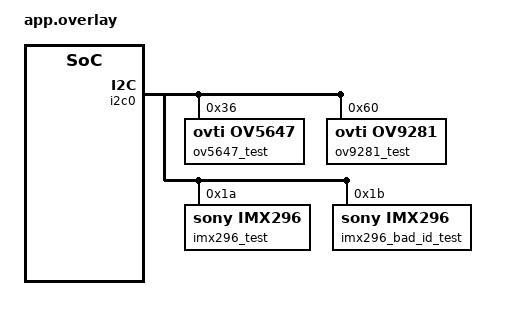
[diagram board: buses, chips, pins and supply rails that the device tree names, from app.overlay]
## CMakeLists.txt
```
# SPDX-License-Identifier: Apache-2.0
#
# Real runtime ztests for ov5647.c, ov9281.c and imx296.c against I2C emulators
# (ov5647_emul.c / ov9281_emul.c / imx296_emul.c) -- see testcase.yaml.

cmake_minimum_required(VERSION 3.20.0)
find_package(Zephyr REQUIRED HINTS $ENV{ZEPHYR_BASE})
project(alp_sdk_video_sensors_test)

target_sources(app PRIVATE
	src/ov5647_emul.c
	src/ov5647_test.c
	src/ov9281_emul.c
	src/ov9281_test.c
	src/imx296_emul.c
	src/imx296_test.c
)
```

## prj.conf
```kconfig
CONFIG_TEST=y
CONFIG_ZTEST=y
CONFIG_ALP_SDK=y

# OV9281 and OV5647 each run a real ztest against their own I2C emulator (ov9281_emul.c /
# ov5647_emul.c).
CONFIG_EMUL=y
CONFIG_I2C_EMUL=y

# Pin the SoC choice -- CONFIG_ALP_SDK=y needs one selected, same as the
# sibling tests/zephyr/display suite; unrelated to the video drivers here.
CONFIG_ALP_SOC_ALIF_ENSEMBLE_E7=y

CONFIG_I2C=y
CONFIG_VIDEO=y

# native_sim (32-bit) has SRAM_SIZE=0 -> Zephyr picks SYS_HEAP_SMALL_ONLY,
# whose heaps top out at 262136 B; shrink the pool below that instead of the
# 2 MiB default so camera_dispatch.c's BUILD_ASSERT doesn't trip here.
CONFIG_VIDEO_BUFFER_POOL_HEAP_SIZE=65536
```

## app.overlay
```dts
/*
 * SPDX-License-Identifier: Apache-2.0
 *
 * Application overlay for testing driver builds -- see testcase.yaml.
 * Names chosen not to conflict with real-world devicetree nodes, mirroring
 * upstream's tests/drivers/build_all/video/app.overlay convention.
 *
 * OV9281, OV5647 and IMX296 all sit on native_sim's real I2C emulation bus (&i2c0,
 * "zephyr,i2c-emul-controller" -- see boards/native/native_sim/native_sim.dts), where
 * ov9281_emul.c's EMUL_DT_INST_DEFINE(ovti_ov9281), ov5647_emul.c's
 * EMUL_DT_INST_DEFINE(ovti_ov5647) and imx296_emul.c's EMUL_DT_INST_DEFINE(sony_imx296) answer
 * them at runtime -- see ov9281_test.c / ov5647_test.c / imx296_test.c.
 */

/ {
	ov5647_input_clock: ov5647-input-clock {
		compatible = "fixed-clock";
		clock-frequency = <25000000>;
		#clock-cells = <0>;
	};

	ov9281_input_clock: ov9281-input-clock {
		compatible = "fixed-clock";
		clock-frequency = <24000000>;
		#clock-cells = <0>;
	};

	imx296_input_clock: imx296-input-clock {
		compatible = "fixed-clock";
		/* 54 MHz: the Raspberry Pi Global Shutter Camera module's own oscillator -- one
		 * of the three INCK frequencies imx296.c's imx296_inck_table[] supports. */
		clock-frequency = <54000000>;
		#clock-cells = <0>;
	};
};

&i2c0 {
	status = "okay";

	ov5647_test: ov5647@36 {
		compatible = "ovti,ov5647";
		reg = <0x36>;
		clocks = <&ov5647_input_clock>;
		status = "okay";

		port {
			ov5647_test_ep: endpoint {
				remote-endpoint-label = "";
				data-lanes = <1 2>;
			};
		};
	};

	ov9281_test: ov9281@60 {
		compatible = "ovti,ov9281";
		reg = <0x60>;
		clocks = <&ov9281_input_clock>;
		status = "okay";

		port {
			ov9281_test_ep: endpoint {
				remote-endpoint-label = "";
				data-lanes = <1 2>;
			};
		};
	};

	imx296_test: imx296@1a {
		compatible = "sony,imx296";
		reg = <0x1a>;
		clocks = <&imx296_input_clock>;
		status = "okay";

		port {
			imx296_test_ep: endpoint {
				remote-endpoint-label = "";
				/* IMX296 is a single-lane part, unlike its OV5647/OV9281
				 * siblings above -- see the BUILD_ASSERT in imx296.c. */
				data-lanes = <1>;
			};
		};
	};

	/* Second instance at a distinct CCI address, purely to give
	 * imx296_test.c a device whose emulator seeds a WRONG SENSOR_INFO
	 * (imx296_emul.c matches this node by its reg address) -- exercises
	 * imx296_init()'s identity-mismatch -ENODEV path, which the real
	 * imx296_test node above (seeded with the bench-confirmed signature)
	 * cannot reach.
	 */
	imx296_bad_id_test: imx296@1b {
		compatible = "sony,imx296";
		reg = <0x1b>;
		clocks = <&imx296_input_clock>;
		status = "okay";

		port {
			imx296_bad_id_test_ep: endpoint {
				remote-endpoint-label = "";
				data-lanes = <1>;
			};
		};
	};
};
```

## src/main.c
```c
/*
 * SPDX-License-Identifier: Apache-2.0
 *
 * Build-only smoke test -- see testcase.yaml. Nothing to run.
 */

int main(void)
{
	return 0;
}
```

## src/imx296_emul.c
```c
/*
 * SPDX-License-Identifier: Apache-2.0
 *
 * I2C emulator for the IMX296 CCI register map used by imx296_test.c. Modeled on ov5647_emul.c
 * (itself modeled on ov9281_emul.c / upstream tests/drivers/sensor/ina237/src/ina237_emul.c),
 * adapted to the same 16-bit CCI register addressing (see ov9281_emul.c's header comment for the
 * transaction shape: a write is a single 3-byte transfer [addr_hi, addr_lo, data]; a read is a
 * 2-byte address write followed by a 1-byte read -- video_common.h's VIDEO_REG_ADDR16_* helpers
 * do one 8-bit-data transaction per register byte, even for IMX296's wider REG16/REG24
 * registers). UNLIKE ov5647.c's OV5647_REG16 (big-endian), imx296.c's IMX296_REG16/REG24 are
 * LITTLE-endian (VIDEO_REG_ADDR16_DATA16_LE / _DATA24_LE): video_write_cci_reg()/
 * video_read_cci_reg() put the LEAST significant byte at the register's base address and walk
 * UP for each more significant byte (see video_common.c) -- the opposite byte order from
 * ov5647_emul.c's chip-ID seeding comment.
 *
 * SENSOR_INFO (0x3148/0x3149, LE) is seeded to the bench-confirmed colour-IMX296LQR-C signature
 * 0x4A00 (issue #2287, bench run 229) at emulator init, so imx296_init()'s identity probe
 * succeeds without any test code involvement -- LE means the LOW byte (0x00) lives at 0x3148 and
 * the HIGH byte (0x4A) at 0x3149, i.e. 0x4A00 = regs[0x3149] << 8 | regs[0x3148].
 *
 * Like ov5647_emul.c (and unlike ov9281_emul.c), this emulator records every register WRITE in
 * issue order (see struct imx296_emul_write / imx296_emul_log_get() in imx296_emul.h):
 * imx296_test.c's standby/stream-sequence coverage needs to assert not just final register
 * values but that IMX296_REG_STANDBY is cancelled (temporarily) BEFORE SENSOR_INFO is read, and
 * re-armed BEFORE the VMAX/HMAX/INCKSEL/CSI-timing "S" registers are written -- a values-only
 * check cannot see write ORDER.
 */
#define DT_DRV_COMPAT sony_imx296

#include <zephyr/device.h>
#include <zephyr/drivers/emul.h>
#include <zephyr/drivers/i2c.h>
#include <zephyr/drivers/i2c_emul.h>
#include <zephyr/logging/log.h>
#include <zephyr/sys/byteorder.h>

#include <string.h>

#include "imx296_emul.h"

LOG_MODULE_REGISTER(imx296_emul, CONFIG_I2C_LOG_LEVEL);

/* Sized to cover every register address the driver touches (highest is 0x418c); a flat array
 * keeps the emulator a direct address->value map with no sparse-lookup logic to get wrong. */
#define IMX296_EMUL_REG_MAP_SIZE 0x4200

/* imx296_init()'s boot sequence is short (no per-mode table, one fixed format): XMSTA + STANDBY
 * quiesce, a standby-cancel/SENSOR_INFO-read/standby-re-arm round trip, then VMAX (3 bytes) +
 * HMAX (2 bytes) + INCKSEL0..3 (4 bytes) + CSI_TIMING (1 byte) + CSI_LANE_HS (1 byte) +
 * BLKLEVEL (2 bytes) + ROI_ENABLE (1 byte) -- under 20 writes total. Sized generously (matching
 * ov5647_emul.c's rationale) so accumulated writes across a whole ZTEST suite run cannot silently
 * overflow and drop entries partway through. */
#define IMX296_EMUL_LOG_CAPACITY 256

struct imx296_emul_data {
	uint8_t                  regs[IMX296_EMUL_REG_MAP_SIZE];
	struct imx296_emul_write log[IMX296_EMUL_LOG_CAPACITY];
	size_t                   log_count;
};

int imx296_emul_get_reg(const struct emul *target, uint16_t reg, uint8_t *value)
{
	struct imx296_emul_data *data = target->data;

	if (reg >= IMX296_EMUL_REG_MAP_SIZE || value == NULL) {
		return -EINVAL;
	}

	*value = data->regs[reg];

	return 0;
}

void imx296_emul_clear_log(const struct emul *target)
{
	struct imx296_emul_data *data = target->data;

	data->log_count = 0;
}

size_t imx296_emul_log_count(const struct emul *target)
{
	struct imx296_emul_data *data = target->data;

	return data->log_count;
}

int imx296_emul_log_get(const struct emul *target, size_t index, struct imx296_emul_write *out)
{
	struct imx296_emul_data *data = target->data;

	if (index >= data->log_count || out == NULL) {
		return -EINVAL;
	}

	*out = data->log[index];

	return 0;
}

static void imx296_emul_log_write(struct imx296_emul_data *data, uint16_t reg, uint8_t value)
{
	if (data->log_count >= IMX296_EMUL_LOG_CAPACITY) {
		LOG_WRN("Write log full (%d entries); dropping 0x%04x=0x%02x",
		        IMX296_EMUL_LOG_CAPACITY,
		        reg,
		        value);
		return;
	}

	data->log[data->log_count].reg   = reg;
	data->log[data->log_count].value = value;
	data->log_count++;
}

static int
imx296_emul_transfer_i2c(const struct emul *target, struct i2c_msg msgs[], int num_msgs, int addr)
{
	struct imx296_emul_data *data = target->data;
	uint16_t                 reg;

	ARG_UNUSED(addr);

	if (!msgs || num_msgs < 1 || num_msgs > 2 || (msgs[0].flags & I2C_MSG_READ)) {
		LOG_ERR("Unexpected transfer shape (num_msgs=%d)", num_msgs);
		return -EIO;
	}

	if (num_msgs == 1) {
		/* video_write_cci_reg(): one write of [addr_hi, addr_lo, data] */
		if (msgs[0].len != 3) {
			LOG_ERR("Expected a 3-byte register write, got %u", msgs[0].len);
			return -EIO;
		}
		reg = sys_get_be16(msgs[0].buf);
		if (reg >= IMX296_EMUL_REG_MAP_SIZE) {
			LOG_ERR("Register 0x%04x out of the emulated map", reg);
			return -EIO;
		}
		data->regs[reg] = msgs[0].buf[2];
		imx296_emul_log_write(data, reg, msgs[0].buf[2]);
		return 0;
	}

	/* video_read_cci_reg(): a 2-byte address write, then a 1-byte read */
	if (msgs[0].len != 2 || !(msgs[1].flags & I2C_MSG_READ) || msgs[1].len != 1) {
		LOG_ERR("Expected a 2-byte address write + 1-byte read");
		return -EIO;
	}
	reg = sys_get_be16(msgs[0].buf);
	if (reg >= IMX296_EMUL_REG_MAP_SIZE) {
		LOG_ERR("Register 0x%04x out of the emulated map", reg);
		return -EIO;
	}
	msgs[1].buf[0] = data->regs[reg];

	return 0;
}

/* Config data: whether this instance should seed a WRONG SENSOR_INFO, to exercise
 * imx296_init()'s identity-mismatch -ENODEV path from imx296_test.c. Set per-instance from the
 * node's own CCI address below -- see IMX296_EMUL(n) and app.overlay's imx296_bad_id_test node. */
struct imx296_emul_cfg {
	bool seed_bad_sensor_info;
};

static int imx296_emul_init(const struct emul *target, const struct device *parent)
{
	struct imx296_emul_data      *data = target->data;
	const struct imx296_emul_cfg *cfg  = target->cfg;

	ARG_UNUSED(parent);

	memset(data->regs, 0, sizeof(data->regs));
	data->log_count = 0;

	/* POR defaults (Sony IMX296 datasheet Register Map, Chip ID = 02h, page 34): STANDBY
	 * (0x3000) = 0x01 (standby), XMSTA (0x300a) = 0x01 (stopped) -- matches bench run 229's
	 * observed cold-boot reset state. */
	data->regs[0x3000] = 0x01;
	data->regs[0x300a] = 0x01;

	/* SENSOR_INFO (IMX296_REG_SENSOR_INFO = IMX296_REG16(0x3148), little-endian): bench run
	 * 229's confirmed colour-IMX296LQR-C signature 0x4a00 -- see this file's header comment
	 * for the byte order. imx296_bad_id_test seeds an arbitrary WRONG value instead, to prove
	 * imx296_init() rejects a signature that isn't this exact one. */
	if (cfg != NULL && cfg->seed_bad_sensor_info) {
		data->regs[0x3148] = 0x00;
		data->regs[0x3149] = 0x00;
	} else {
		data->regs[0x3148] = 0x00;
		data->regs[0x3149] = 0x4a;
	}

	return 0;
}

static const struct i2c_emul_api imx296_emul_api_i2c = {
	.transfer = imx296_emul_transfer_i2c,
};

#define IMX296_EMUL(n) \
	static struct imx296_emul_data      imx296_emul_data_##n; \
	static const struct imx296_emul_cfg imx296_emul_cfg_##n = { \
		.seed_bad_sensor_info = (DT_INST_REG_ADDR(n) != 0x1a), \
	}; \
	EMUL_DT_INST_DEFINE(n, \
	                    imx296_emul_init, \
	                    &imx296_emul_data_##n, \
	                    &imx296_emul_cfg_##n, \
	                    &imx296_emul_api_i2c, \
	                    NULL)

DT_INST_FOREACH_STATUS_OKAY(IMX296_EMUL)
```

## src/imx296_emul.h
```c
/*
 * SPDX-License-Identifier: Apache-2.0
 *
 * Test-only accessor into the IMX296 I2C emulator's register map and ordered write log -- see
 * imx296_emul.c.
 */
#ifndef TESTS_ZEPHYR_VIDEO_SENSORS_SRC_IMX296_EMUL_H_
#define TESTS_ZEPHYR_VIDEO_SENSORS_SRC_IMX296_EMUL_H_

#include <stddef.h>
#include <stdint.h>

#include <zephyr/drivers/emul.h>

/**
 * @brief Read one emulated IMX296 register.
 *
 * @param target The IMX296 emulator instance (EMUL_DT_GET(DT_NODELABEL(...))).
 * @param reg 16-bit CCI register address.
 * @param value Out param for the stored byte.
 * @return 0 on success, -EINVAL if @p reg is out of the emulated map or @p value is NULL.
 */
int imx296_emul_get_reg(const struct emul *target, uint16_t reg, uint8_t *value);

/* One recorded register write, in the order the driver issued it -- see imx296_emul_log_get(). */
struct imx296_emul_write {
	uint16_t reg;
	uint8_t  value;
};

/**
 * @brief Clear the ordered write log.
 *
 * Call at the start of a test that wants to inspect only the writes ITS OWN driver call made,
 * not whatever earlier tests (or imx296_init() at boot) left behind.
 *
 * @param target The IMX296 emulator instance.
 */
void imx296_emul_clear_log(const struct emul *target);

/**
 * @brief Number of register writes recorded since the last imx296_emul_clear_log() (or boot).
 *
 * Capped at the log's fixed capacity -- see imx296_emul.c.
 *
 * @param target The IMX296 emulator instance.
 * @return The recorded write count.
 */
size_t imx296_emul_log_count(const struct emul *target);

/**
 * @brief Read one entry from the ordered write log.
 *
 * @param target The IMX296 emulator instance.
 * @param index Zero-based index; 0 is the oldest recorded write since the last clear.
 * @param out Out param for the recorded register/value pair.
 * @return 0 on success, -EINVAL if @p index is out of range or @p out is NULL.
 */
int imx296_emul_log_get(const struct emul *target, size_t index, struct imx296_emul_write *out);

#endif /* TESTS_ZEPHYR_VIDEO_SENSORS_SRC_IMX296_EMUL_H_ */
```

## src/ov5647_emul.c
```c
/*
 * SPDX-License-Identifier: Apache-2.0
 *
 * I2C emulator for the OV5647 CCI register map used by ov5647_test.c. Modeled on ov9281_emul.c
 * (itself modeled on upstream tests/drivers/sensor/ina237/src/ina237_emul.c), adapted to the same
 * 16-bit CCI register addressing (see ov9281_emul.c's header comment for the transaction shape: a
 * write is a single 3-byte transfer [addr_hi, addr_lo, data]; a read is a 2-byte address write
 * followed by a 1-byte read -- video_common.h's VIDEO_REG_ADDR16_* helpers do one 8-bit-data
 * transaction per register byte, even for OV5647's wider REG16/REG24 registers).
 *
 * Chip ID (0x300a/0x300b = 0x56/0x47, combining to OV5647_CHIP_ID = 0x5647 big-endian) is seeded
 * at emulator init so ov5647_init()'s probe succeeds without any test code involvement.
 *
 * Unlike ov9281_emul.c, this emulator also records every register WRITE in issue order (see
 * struct ov5647_emul_write / ov5647_emul_log_get() in ov5647_emul.h): ov5647_test.c's lane-park
 * regression coverage (issue #2248) needs to assert not just the final parked register VALUES but
 * that 0x0100 (MODE_SELECT) is written running (0x01) BEFORE the three park registers -- parking
 * while still in software standby writes the identical final values but leaves the CSI-2 lanes
 * out of LP-11 (Stop state), a bug a values-only check cannot see.
 */
#define DT_DRV_COMPAT ovti_ov5647

#include <zephyr/device.h>
#include <zephyr/drivers/emul.h>
#include <zephyr/drivers/i2c.h>
#include <zephyr/drivers/i2c_emul.h>
#include <zephyr/logging/log.h>
#include <zephyr/sys/byteorder.h>

#include <string.h>

#include "ov5647_emul.h"

LOG_MODULE_REGISTER(ov5647_emul, CONFIG_I2C_LOG_LEVEL);

/* Sized to cover every register address the driver touches (highest is 0x503d); a flat array
 * keeps the emulator a direct address->value map with no sparse-lookup logic to get wrong. */
#define OV5647_EMUL_REG_MAP_SIZE 0x6000

/* ov5647_init()'s full boot sequence writes the reset, the (now ~50-entry, since AUTHORIZED
 * LOCAL DIVERGENCE #3 added the common analog/BLC/AEC block) init-regs table, the initial
 * full-frame set_fmt() (window + 1:1 subsample/binning/analog + frmival), and two lane_park()
 * calls -- around 80 writes total; tests that clear the log before acting add only a handful
 * more each. issue #2248 fix-up round 4: the ZTEST_SUITE before-hook (ov5647_test_before())
 * now runs a ctrl reset + set_frmival + set_format (~30 writes) ahead of EVERY test, and most
 * tests do NOT clear the log first (only a few explicitly do -- see ov5647_test.c), so the
 * ORIGINAL 160-entry budget (sized for a handful of writes per test, not ~30) silently dropped
 * writes partway through the suite once several before-hook invocations had accumulated without
 * an intervening clear, which find_write_index() then read as "never written". Raised to 1024,
 * generously rather than precisely re-budgeted -- but issue #2277's ov5647_set_frmival() re-clamp
 * (ov5647.c: every set_frmival() now re-runs the exposure setter, which always writes
 * OV5647_MANUAL_CTRL and, while VIDEO_CID_EXPOSURE_AUTO=MANUAL, OV5647_EXPOSURE) pushed the WHOLE suite (still one shared, never-fully-reset log) over
 * that budget too -- 1024 dropped past ~2050 needed. Raised again, to 4096, with the same
 * generous-not-precise margin. */
#define OV5647_EMUL_LOG_CAPACITY 4096

struct ov5647_emul_data {
	uint8_t                  regs[OV5647_EMUL_REG_MAP_SIZE];
	struct ov5647_emul_write log[OV5647_EMUL_LOG_CAPACITY];
	size_t                   log_count;
};

int ov5647_emul_get_reg(const struct emul *target, uint16_t reg, uint8_t *value)
{
	struct ov5647_emul_data *data = target->data;

	if (reg >= OV5647_EMUL_REG_MAP_SIZE || value == NULL) {
		return -EINVAL;
	}

	*value = data->regs[reg];

	return 0;
}

int ov5647_emul_set_reg(const struct emul *target, uint16_t reg, uint8_t value)
{
	struct ov5647_emul_data *data = target->data;

	if (reg >= OV5647_EMUL_REG_MAP_SIZE) {
		return -EINVAL;
	}

	data->regs[reg] = value;

	return 0;
}

void ov5647_emul_clear_log(const struct emul *target)
{
	struct ov5647_emul_data *data = target->data;

	data->log_count = 0;
}

size_t ov5647_emul_log_count(const struct emul *target)
{
	struct ov5647_emul_data *data = target->data;

	return data->log_count;
}

int ov5647_emul_log_get(const struct emul *target, size_t index, struct ov5647_emul_write *out)
{
	struct ov5647_emul_data *data = target->data;

	if (index >= data->log_count || out == NULL) {
		return -EINVAL;
	}

	*out = data->log[index];

	return 0;
}

static void ov5647_emul_log_write(struct ov5647_emul_data *data, uint16_t reg, uint8_t value)
{
	if (data->log_count >= OV5647_EMUL_LOG_CAPACITY) {
		LOG_WRN("Write log full (%d entries); dropping 0x%04x=0x%02x",
		        OV5647_EMUL_LOG_CAPACITY,
		        reg,
		        value);
		return;
	}

	data->log[data->log_count].reg   = reg;
	data->log[data->log_count].value = value;
	data->log_count++;
}

static int
ov5647_emul_transfer_i2c(const struct emul *target, struct i2c_msg msgs[], int num_msgs, int addr)
{
	struct ov5647_emul_data *data = target->data;
	uint16_t                 reg;

	ARG_UNUSED(addr);

	if (!msgs || num_msgs < 1 || num_msgs > 2 || (msgs[0].flags & I2C_MSG_READ)) {
		LOG_ERR("Unexpected transfer shape (num_msgs=%d)", num_msgs);
		return -EIO;
	}

	if (num_msgs == 1) {
		/* video_write_cci_reg(): one write of [addr_hi, addr_lo, data] */
		if (msgs[0].len != 3) {
			LOG_ERR("Expected a 3-byte register write, got %u", msgs[0].len);
			return -EIO;
		}
		reg = sys_get_be16(msgs[0].buf);
		if (reg >= OV5647_EMUL_REG_MAP_SIZE) {
			LOG_ERR("Register 0x%04x out of the emulated map", reg);
			return -EIO;
		}
		data->regs[reg] = msgs[0].buf[2];
		ov5647_emul_log_write(data, reg, msgs[0].buf[2]);
		return 0;
	}

	/* video_read_cci_reg(): a 2-byte address write, then a 1-byte read */
	if (msgs[0].len != 2 || !(msgs[1].flags & I2C_MSG_READ) || msgs[1].len != 1) {
		LOG_ERR("Expected a 2-byte address write + 1-byte read");
		return -EIO;
	}
	reg = sys_get_be16(msgs[0].buf);
	if (reg >= OV5647_EMUL_REG_MAP_SIZE) {
		LOG_ERR("Register 0x%04x out of the emulated map", reg);
		return -EIO;
	}
	msgs[1].buf[0] = data->regs[reg];

	return 0;
}

static int ov5647_emul_init(const struct emul *target, const struct device *parent)
{
	struct ov5647_emul_data *data = target->data;

	ARG_UNUSED(parent);

	memset(data->regs, 0, sizeof(data->regs));
	data->log_count = 0;

	/* OV5647_CHIP_ID_REG = OV5647_REG16(0x300a): a 2-byte big-endian read starting at 0x300a,
	 * byte-by-byte per video_read_cci_reg() -- so 0x300a holds the high byte. */
	data->regs[0x300a] = 0x56;
	data->regs[0x300b] = 0x47;

	return 0;
}

static const struct i2c_emul_api ov5647_emul_api_i2c = {
	.transfer = ov5647_emul_transfer_i2c,
};

#define OV5647_EMUL(n) \
	static struct ov5647_emul_data ov5647_emul_data_##n; \
	EMUL_DT_INST_DEFINE( \
	    n, ov5647_emul_init, &ov5647_emul_data_##n, NULL, &ov5647_emul_api_i2c, NULL)

DT_INST_FOREACH_STATUS_OKAY(OV5647_EMUL)
```

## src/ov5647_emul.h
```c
/*
 * SPDX-License-Identifier: Apache-2.0
 *
 * Test-only accessor into the OV5647 I2C emulator's register map and ordered write log -- see
 * ov5647_emul.c.
 */
#ifndef TESTS_ZEPHYR_VIDEO_SENSORS_SRC_OV5647_EMUL_H_
#define TESTS_ZEPHYR_VIDEO_SENSORS_SRC_OV5647_EMUL_H_

#include <stddef.h>
#include <stdint.h>

#include <zephyr/drivers/emul.h>

/**
 * @brief Read one emulated OV5647 register.
 *
 * @param target The OV5647 emulator instance (EMUL_DT_GET(DT_NODELABEL(...))).
 * @param reg 16-bit CCI register address.
 * @param value Out param for the stored byte.
 * @return 0 on success, -EINVAL if @p reg is out of the emulated map or @p value is NULL.
 */
int ov5647_emul_get_reg(const struct emul *target, uint16_t reg, uint8_t *value);

/**
 * @brief Directly poke one emulated OV5647 register, bypassing the driver.
 *
 * #2277: stands in for whatever OUTSIDE the ov5647.c driver's own I2C traffic last touched a
 * register -- e.g. a vendor ISP library's own sensor-attach table, or (as bench-observed) the
 * sensor's own on-chip AEC overwriting its exposure registers once AEC-manual goes inactive --
 * so a test can reproduce "something clobbered this register" without needing that external
 * write path present in a native_sim unit test.
 *
 * @param target The OV5647 emulator instance.
 * @param reg 16-bit CCI register address.
 * @param value Byte to store.
 * @return 0 on success, -EINVAL if @p reg is out of the emulated map.
 */
int ov5647_emul_set_reg(const struct emul *target, uint16_t reg, uint8_t value);

/* One recorded register write, in the order the driver issued it -- see ov5647_emul_log_get(). */
struct ov5647_emul_write {
	uint16_t reg;
	uint8_t  value;
};

/**
 * @brief Clear the ordered write log.
 *
 * Call at the start of a test that wants to inspect only the writes ITS OWN driver call made,
 * not whatever earlier tests (or ov5647_init() at boot) left behind.
 *
 * @param target The OV5647 emulator instance.
 */
void ov5647_emul_clear_log(const struct emul *target);

/**
 * @brief Number of register writes recorded since the last ov5647_emul_clear_log() (or boot).
 *
 * Capped at the log's fixed capacity -- see ov5647_emul.c.
 *
 * @param target The OV5647 emulator instance.
 * @return The recorded write count.
 */
size_t ov5647_emul_log_count(const struct emul *target);

/**
 * @brief Read one entry from the ordered write log.
 *
 * @param target The OV5647 emulator instance.
 * @param index Zero-based index; 0 is the oldest recorded write since the last clear.
 * @param out Out param for the recorded register/value pair.
 * @return 0 on success, -EINVAL if @p index is out of range or @p out is NULL.
 */
int ov5647_emul_log_get(const struct emul *target, size_t index, struct ov5647_emul_write *out);

#endif /* TESTS_ZEPHYR_VIDEO_SENSORS_SRC_OV5647_EMUL_H_ */
```

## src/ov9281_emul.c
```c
/*
 * SPDX-License-Identifier: Apache-2.0
 *
 * I2C emulator for the OV9281 CCI register map used by ov9281_test.c. Modeled on upstream
 * tests/drivers/sensor/ina237/src/ina237_emul.c, adapted to the OV9281's 16-bit CCI register
 * addressing (video_common.h's VIDEO_REG_ADDR16_* helpers do one 8-bit-data transaction per
 * register byte -- see video_write_cci_reg()/video_read_cci_reg() in
 * zephyr/drivers/video/video_common.c): a write is a single 3-byte transfer
 * [addr_hi, addr_lo, data]; a read is a 2-byte address write followed by a 1-byte read.
 *
 * Chip ID (0x300a/0x300b = 0x92/0x81, combining to OV9281_CHIP_ID = 0x9281 big-endian) is
 * seeded at emulator init so ov9281_init()'s probe succeeds without any test code involvement.
 */
#define DT_DRV_COMPAT ovti_ov9281

#include <zephyr/device.h>
#include <zephyr/drivers/emul.h>
#include <zephyr/drivers/i2c.h>
#include <zephyr/drivers/i2c_emul.h>
#include <zephyr/logging/log.h>
#include <zephyr/sys/byteorder.h>

#include <string.h>

#include "ov9281_emul.h"

LOG_MODULE_REGISTER(ov9281_emul, CONFIG_I2C_LOG_LEVEL);

/* Sized to cover every register address the driver touches (highest is 0x5e00); a flat array
 * keeps the emulator a direct address->value map with no sparse-lookup logic to get wrong. */
#define OV9281_EMUL_REG_MAP_SIZE 0x6000

struct ov9281_emul_data {
	uint8_t regs[OV9281_EMUL_REG_MAP_SIZE];
};

int ov9281_emul_get_reg(const struct emul *target, uint16_t reg, uint8_t *value)
{
	struct ov9281_emul_data *data = target->data;

	if (reg >= OV9281_EMUL_REG_MAP_SIZE || value == NULL) {
		return -EINVAL;
	}

	*value = data->regs[reg];

	return 0;
}

static int
ov9281_emul_transfer_i2c(const struct emul *target, struct i2c_msg msgs[], int num_msgs, int addr)
{
	struct ov9281_emul_data *data = target->data;
	uint16_t                 reg;

	ARG_UNUSED(addr);

	if (!msgs || num_msgs < 1 || num_msgs > 2 || (msgs[0].flags & I2C_MSG_READ)) {
		LOG_ERR("Unexpected transfer shape (num_msgs=%d)", num_msgs);
		return -EIO;
	}

	if (num_msgs == 1) {
		/* video_write_cci_reg(): one write of [addr_hi, addr_lo, data] */
		if (msgs[0].len != 3) {
			LOG_ERR("Expected a 3-byte register write, got %u", msgs[0].len);
			return -EIO;
		}
		reg = sys_get_be16(msgs[0].buf);
		if (reg >= OV9281_EMUL_REG_MAP_SIZE) {
			LOG_ERR("Register 0x%04x out of the emulated map", reg);
			return -EIO;
		}
		data->regs[reg] = msgs[0].buf[2];
		return 0;
	}

	/* video_read_cci_reg(): a 2-byte address write, then a 1-byte read */
	if (msgs[0].len != 2 || !(msgs[1].flags & I2C_MSG_READ) || msgs[1].len != 1) {
		LOG_ERR("Expected a 2-byte address write + 1-byte read");
		return -EIO;
	}
	reg = sys_get_be16(msgs[0].buf);
	if (reg >= OV9281_EMUL_REG_MAP_SIZE) {
		LOG_ERR("Register 0x%04x out of the emulated map", reg);
		return -EIO;
	}
	msgs[1].buf[0] = data->regs[reg];

	return 0;
}

static int ov9281_emul_init(const struct emul *target, const struct device *parent)
{
	struct ov9281_emul_data *data = target->data;

	ARG_UNUSED(parent);

	memset(data->regs, 0, sizeof(data->regs));

	/* OV9281_REG_CHIP_ID = OV9281_REG16(0x300a): a 2-byte big-endian read starting at
	 * 0x300a, byte-by-byte per video_read_cci_reg() -- so 0x300a holds the high byte. */
	data->regs[0x300a] = 0x92;
	data->regs[0x300b] = 0x81;

	return 0;
}

static const struct i2c_emul_api ov9281_emul_api_i2c = {
	.transfer = ov9281_emul_transfer_i2c,
};

#define OV9281_EMUL(n) \
	static struct ov9281_emul_data ov9281_emul_data_##n; \
	EMUL_DT_INST_DEFINE( \
	    n, ov9281_emul_init, &ov9281_emul_data_##n, NULL, &ov9281_emul_api_i2c, NULL)

DT_INST_FOREACH_STATUS_OKAY(OV9281_EMUL)
```

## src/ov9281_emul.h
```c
/*
 * SPDX-License-Identifier: Apache-2.0
 *
 * Test-only accessor into the OV9281 I2C emulator's register map -- see ov9281_emul.c.
 */
#ifndef TESTS_ZEPHYR_VIDEO_SENSORS_SRC_OV9281_EMUL_H_
#define TESTS_ZEPHYR_VIDEO_SENSORS_SRC_OV9281_EMUL_H_

#include <stdint.h>

#include <zephyr/drivers/emul.h>

/**
 * @brief Read one emulated OV9281 register.
 *
 * @param target The OV9281 emulator instance (EMUL_DT_GET(DT_NODELABEL(...))).
 * @param reg 16-bit CCI register address.
 * @param value Out param for the stored byte.
 * @return 0 on success, -EINVAL if @p reg is out of the emulated map or @p value is NULL.
 */
int ov9281_emul_get_reg(const struct emul *target, uint16_t reg, uint8_t *value);

#endif /* TESTS_ZEPHYR_VIDEO_SENSORS_SRC_OV9281_EMUL_H_ */
```

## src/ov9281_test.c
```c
/*
 * SPDX-License-Identifier: Apache-2.0
 *
 * Runtime ztest for the OV9281 streaming driver (zephyr/drivers/video/ov9281.c), against the
 * I2C emulator in ov9281_emul.c on native_sim's real "zephyr,i2c-emul-controller" (&i2c0 --
 * see app.overlay).
 */
#include <zephyr/device.h>
#include <zephyr/devicetree.h>
#include <zephyr/drivers/emul.h>
#include <zephyr/drivers/video-controls.h>
#include <zephyr/drivers/video.h>
#include <zephyr/ztest.h>

#include "ov9281_emul.h"

#define OV9281_NODE DT_NODELABEL(ov9281_test)

/* Register addresses this test peeks -- kept local rather than pulling ov9281.c's private
 * OV9281_REG8()-wrapped values, which also encode CCI address/data-size metadata this test
 * doesn't need. */
#define REG_Y_START             0x3803
#define REG_Y_END_H             0x3806
#define REG_Y_END_L             0x3807
#define REG_OUT_WIDTH_H         0x3808
#define REG_OUT_WIDTH_L         0x3809
#define REG_OUT_HEIGHT_H        0x380a
#define REG_OUT_HEIGHT_L        0x380b
#define REG_VTS_H               0x380e
#define REG_VTS_L               0x380f
#define REG_TEST_PATTERN        0x5e00
#define TEST_PATTERN_ENABLE_BIT BIT(7)

static const struct device *ov9281_dev(void)
{
	return DEVICE_DT_GET(OV9281_NODE);
}

static const struct emul *ov9281_emul(void)
{
	return EMUL_DT_GET(OV9281_NODE);
}

ZTEST(ov9281, test_device_is_ready)
{
	zassert_true(device_is_ready(ov9281_dev()), "OV9281 device not ready");
}

ZTEST(ov9281, test_get_caps_lists_exactly_three_grey_modes)
{
	struct video_caps caps = { .type = VIDEO_BUF_TYPE_OUTPUT };
	static const struct {
		uint32_t width;
		uint32_t height;
	} expect[] = {
		{ 640, 400 },
		{ 1280, 720 },
		{ 1280, 800 },
	};
	int count;

	zassert_ok(video_get_caps(ov9281_dev(), &caps));
	zassert_not_null(caps.format_caps);

	for (count = 0; caps.format_caps[count].pixelformat != 0; count++) {
		zassert_equal(
		    caps.format_caps[count].pixelformat, VIDEO_PIX_FMT_GREY, "mode %d is not GREY", count);
	}
	zassert_equal(count, 3, "expected exactly 3 modes, got %d", count);

	for (int i = 0; i < ARRAY_SIZE(expect); i++) {
		bool found = false;

		for (int j = 0; j < count; j++) {
			if (caps.format_caps[j].width_min == expect[i].width &&
			    caps.format_caps[j].width_max == expect[i].width &&
			    caps.format_caps[j].height_min == expect[i].height &&
			    caps.format_caps[j].height_max == expect[i].height) {
				found = true;
				break;
			}
		}
		zassert_true(found, "%ux%u mode missing from get_caps", expect[i].width, expect[i].height);
	}
}

static void set_format_ok(uint32_t width, uint32_t height)
{
	struct video_format fmt = {
		.type        = VIDEO_BUF_TYPE_OUTPUT,
		.pixelformat = VIDEO_PIX_FMT_GREY,
		.width       = width,
		.height      = height,
	};

	zassert_ok(
	    video_set_format(ov9281_dev(), &fmt), "set_format(%ux%u GREY) failed", width, height);
}

ZTEST(ov9281, test_set_format_succeeds_for_each_supported_mode)
{
	set_format_ok(640, 400);
	set_format_ok(1280, 720);
	set_format_ok(1280, 800);
}

ZTEST(ov9281, test_set_format_1280x800_programs_the_derived_registers)
{
	const struct emul *emul = ov9281_emul();
	uint8_t            val;

	/* ov9281_set_fmt() skips the register reload when the requested mode is already active
	 * (see the comment in ov9281.c) -- switch to a different mode first so the 1280x800
	 * load below is a real one this test can check, independent of what earlier tests left
	 * active. */
	set_format_ok(640, 400);
	set_format_ok(1280, 800);

	/* Y-window: full 816-row array, Y start 0 -- the same Y-end window Espressif's
	 * own 640x400 table already uses (see the derivation comment in ov9281.c). */
	zassert_ok(ov9281_emul_get_reg(emul, REG_Y_START, &val));
	zassert_equal(val, 0x00, "0x%04x", REG_Y_START);
	zassert_ok(ov9281_emul_get_reg(emul, REG_Y_END_H, &val));
	zassert_equal(val, 0x03, "0x%04x", REG_Y_END_H);
	zassert_ok(ov9281_emul_get_reg(emul, REG_Y_END_L, &val));
	zassert_equal(val, 0x2f, "0x%04x", REG_Y_END_L);

	/* Output width stays 1280 (0x0500), unchanged from the 1280x720 table */
	zassert_ok(ov9281_emul_get_reg(emul, REG_OUT_WIDTH_H, &val));
	zassert_equal(val, 0x05, "0x%04x", REG_OUT_WIDTH_H);
	zassert_ok(ov9281_emul_get_reg(emul, REG_OUT_WIDTH_L, &val));
	zassert_equal(val, 0x00, "0x%04x", REG_OUT_WIDTH_L);

	/* Output height 800 = 0x0320 */
	zassert_ok(ov9281_emul_get_reg(emul, REG_OUT_HEIGHT_H, &val));
	zassert_equal(val, 0x03, "0x%04x", REG_OUT_HEIGHT_H);
	zassert_ok(ov9281_emul_get_reg(emul, REG_OUT_HEIGHT_L, &val));
	zassert_equal(val, 0x20, "0x%04x", REG_OUT_HEIGHT_L);

	/* VTS 910 = 0x038e */
	zassert_ok(ov9281_emul_get_reg(emul, REG_VTS_H, &val));
	zassert_equal(val, 0x03, "0x%04x", REG_VTS_H);
	zassert_ok(ov9281_emul_get_reg(emul, REG_VTS_L, &val));
	zassert_equal(val, 0x8e, "0x%04x", REG_VTS_L);
}

ZTEST(ov9281, test_set_format_rejects_unsupported_fourcc)
{
	struct video_format fmt = {
		.type        = VIDEO_BUF_TYPE_OUTPUT,
		.pixelformat = VIDEO_PIX_FMT_SBGGR10P,
		.width       = 1280,
		.height      = 800,
	};

	zassert_equal(
	    video_set_format(ov9281_dev(), &fmt), -ENOTSUP, "RAW10 at a valid size should be rejected");
}

ZTEST(ov9281, test_set_format_rejects_unsupported_size)
{
	struct video_format fmt = {
		.type        = VIDEO_BUF_TYPE_OUTPUT,
		.pixelformat = VIDEO_PIX_FMT_GREY,
		.width       = 800,
		.height      = 600,
	};

	zassert_equal(video_set_format(ov9281_dev(), &fmt),
	              -ENOTSUP,
	              "an unlisted 800x600 GREY size should be rejected");
}

ZTEST(ov9281, test_pattern_ctrl_sets_the_register_bit)
{
	const struct emul   *emul = ov9281_emul();
	struct video_control ctrl = { .id = VIDEO_CID_TEST_PATTERN, .val = 1 };
	uint8_t              val;

	zassert_ok(video_set_ctrl(ov9281_dev(), &ctrl));
	zassert_ok(ov9281_emul_get_reg(emul, REG_TEST_PATTERN, &val));
	zassert_true(val & TEST_PATTERN_ENABLE_BIT, "TEST_PATTERN bit7 not set: 0x%02x", val);

	ctrl.val = 0;
	zassert_ok(video_set_ctrl(ov9281_dev(), &ctrl));
	zassert_ok(ov9281_emul_get_reg(emul, REG_TEST_PATTERN, &val));
	zassert_false(val & TEST_PATTERN_ENABLE_BIT, "TEST_PATTERN bit7 stuck on: 0x%02x", val);
}

ZTEST(ov9281, test_exposure_above_ceiling_is_rejected)
{
	/* 1280x800's vts = 910, so the exposure ceiling (vts - OV9281_EXP_MAX_OFFSET) is 885 --
	 * see ov9281_init_ctrls()/ov9281_set_fmt() in ov9281.c. video_set_ctrl() range-checks
	 * against that ceiling and rejects out-of-range values with -EINVAL before the driver's
	 * own defensive CLAMP() ever runs (video_ctrls.c:video_set_ctrl()). */
	struct video_control over       = { .id = VIDEO_CID_EXPOSURE, .val = 886 };
	struct video_control at_ceiling = { .id = VIDEO_CID_EXPOSURE, .val = 885 };

	/* Force a real reload (see the comment in the register-check test above) so the
	 * exposure ceiling below is freshly computed by this test's own 1280x800 load, not
	 * inherited from whatever mode an earlier test left active. */
	set_format_ok(640, 400);
	set_format_ok(1280, 800);

	zassert_equal(video_set_ctrl(ov9281_dev(), &over),
	              -EINVAL,
	              "exposure 1 row past the ceiling should be rejected");
	zassert_ok(video_set_ctrl(ov9281_dev(), &at_ceiling),
	           "exposure at the ceiling should be accepted");
}

ZTEST_SUITE(ov9281, NULL, NULL, NULL, NULL, NULL);
```
